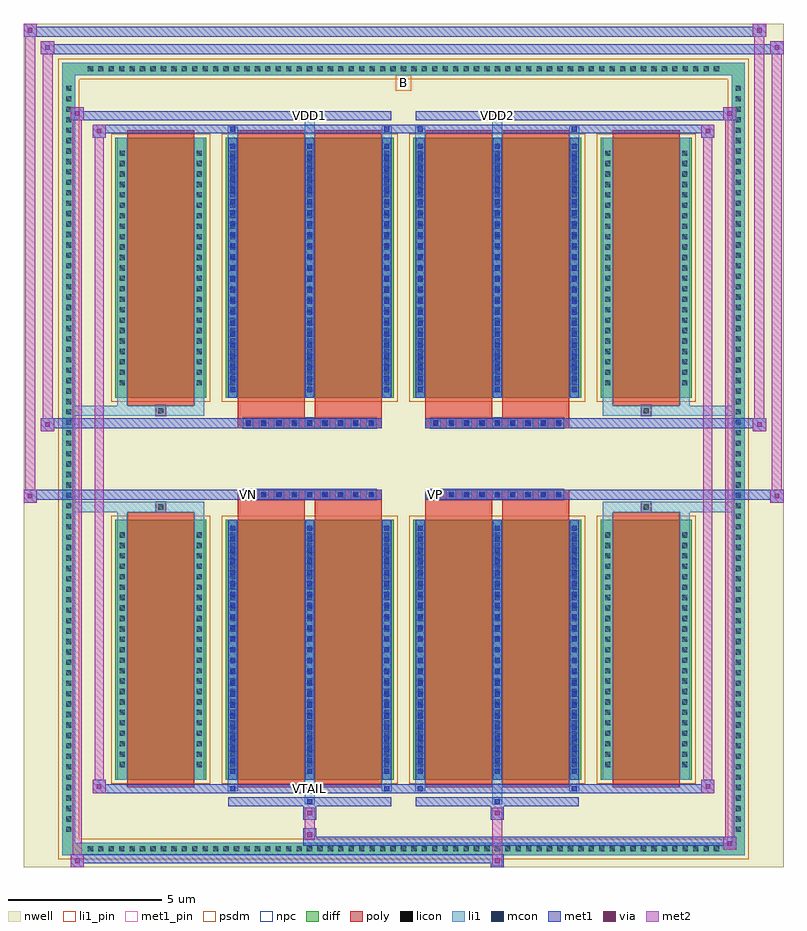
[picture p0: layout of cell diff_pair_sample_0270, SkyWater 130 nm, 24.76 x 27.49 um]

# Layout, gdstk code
import gdstk
lib = gdstk.Library(unit=1e-6, precision=5e-09)
def R(c, l, rs):  # rectangles x0, y0, x1, y1
    for r in rs: c.add(gdstk.rectangle(r[:2], r[2:], *l))
def A(c, l, x, y, w, h, nx, ny, dx, dy):  # array of equal rectangles
    R(c, l, [(x+i*dx, y+j*dy, x+i*dx+w, y+j*dy+h) for i in range(nx) for j in range(ny)])
def P(c, l, *ps):  # polygons
    for p in ps: c.add(gdstk.Polygon(p, *l))
nwell = (64, 20)
diff = (65, 20)
poly = (66, 20)
licon = (66, 44)
li1_pin = (67, 16)
li1 = (67, 20)
mcon = (67, 44)
met1_pin = (68, 16)
met1 = (68, 20)
via = (68, 44)
met2 = (69, 20)
psdm = (94, 20)
npc = (95, 20)

diff_pair_sample_0270 = lib.new_cell('diff_pair_sample_0270')
R(diff_pair_sample_0270, nwell, [(-12.38,-13.31,12.38,14.18), (-9.7,-11.5,-0.01,-0.8), (0.01,-11.5,9.7,-0.8), (-9.7,0.8,-0.01,11.5), (0.01,0.8,9.7,11.5)])
A(diff_pair_sample_0270, diff, -10.405, -12.91, 0.41, 0.41, 61, 2, 0.34, 25.41)
A(diff_pair_sample_0270, diff, -11.11, -12.275, 0.41, 0.41, 1, 72, 0, 0.34)
A(diff_pair_sample_0270, diff, 10.7, -12.275, 0.41, 0.41, 1, 72, 0, 0.34)
R(diff_pair_sample_0270, diff, [(-10.405,-12.91,10.405,-12.5), (-11.11,-12.275,-10.7,12.275), (10.7,-12.275,11.11,12.275), (-9.39,-10.455,-6.43,-1.985), (-5.79,-10.455,-0.32,-1.985), (0.32,-10.455,5.79,-1.985), (6.43,-10.455,9.39,-1.985), (-9.39,1.985,-6.43,10.455), (-5.79,1.985,-0.32,10.455), (0.32,1.985,5.79,10.455), (6.43,1.985,9.39,10.455), (-10.405,12.5,10.405,12.91)])
P(diff_pair_sample_0270, diff, [(11.11,12.91),(-11.11,12.91),(-11.11,-12.5),(-10.7,-12.5),(-10.7,12.5),(10.7,12.5),(10.7,-12.5),(-10.7,-12.5),(-11.11,-12.5),(-11.11,-12.91),(11.11,-12.91)])
A(diff_pair_sample_0270, poly, -5.22, -1.33, 0.33, 0.33, 9, 2, 0.5, 2.33)
A(diff_pair_sample_0270, poly, 0.89, -1.33, 0.33, 0.33, 9, 2, 0.5, 2.33)
R(diff_pair_sample_0270, poly, [(-9,-10.705,-6.82,-1.735), (-5.4,-10.705,-3.22,-1.735), (-2.89,-10.705,-0.71,-1.735), (0.71,-10.705,2.89,-1.735), (3.22,-10.705,5.4,-1.735), (6.82,-10.705,9,-1.735), (-8.075,-1.735,-7.745,-1.405), (-8.075,-1.735,-7.745,-1.405), (-5.4,-1.735,-3.22,-1.33), (-2.89,-1.735,-0.71,-1.33), (0.71,-1.735,2.89,-1.33), (3.22,-1.735,5.4,-1.33), (7.745,-1.735,8.075,-1.405), (7.745,-1.735,8.075,-1.405), (-5.4,-1.33,-0.71,-1), (0.71,-1.33,5.4,-1), (-5.4,1,-0.71,1.33), (0.71,1,5.4,1.33), (-5.4,1.33,-3.22,1.735), (-2.89,1.33,-0.71,1.735), (0.71,1.33,2.89,1.735), (3.22,1.33,5.4,1.735), (-8.075,1.405,-7.745,1.735), (-8.075,1.405,-7.745,1.735), (7.745,1.405,8.075,1.735), (7.745,1.405,8.075,1.735), (-9,1.735,-6.82,10.705), (-5.4,1.735,-3.22,10.705), (-2.89,1.735,-0.71,10.705), (0.71,1.735,2.89,10.705), (3.22,1.735,5.4,10.705), (6.82,1.735,9,10.705)])
A(diff_pair_sample_0270, licon, -10.285, -12.79, 0.17, 0.17, 61, 2, 0.34, 25.41)
A(diff_pair_sample_0270, licon, -10.99, -12.155, 0.17, 0.17, 1, 72, 0, 0.34)
A(diff_pair_sample_0270, licon, 10.82, -12.155, 0.17, 0.17, 1, 72, 0, 0.34)
A(diff_pair_sample_0270, licon, -9.25, -10.045, 0.17, 0.17, 1, 23, 0, 0.34)
A(diff_pair_sample_0270, licon, -6.74, -10.045, 0.17, 0.17, 1, 23, 0, 0.34)
A(diff_pair_sample_0270, licon, -5.65, -10.045, 0.17, 0.17, 3, 23, 2.51, 0.34)
A(diff_pair_sample_0270, licon, 0.46, -10.045, 0.17, 0.17, 3, 23, 2.51, 0.34)
A(diff_pair_sample_0270, licon, 6.57, -10.045, 0.17, 0.17, 1, 23, 0, 0.34)
A(diff_pair_sample_0270, licon, 9.08, -10.045, 0.17, 0.17, 1, 23, 0, 0.34)
A(diff_pair_sample_0270, licon, -5.14, -1.25, 0.17, 0.17, 9, 2, 0.5, 2.33)
A(diff_pair_sample_0270, licon, 0.97, -1.25, 0.17, 0.17, 9, 2, 0.5, 2.33)
A(diff_pair_sample_0270, licon, -9.25, 2.395, 0.17, 0.17, 1, 23, 0, 0.34)
A(diff_pair_sample_0270, licon, -6.74, 2.395, 0.17, 0.17, 1, 23, 0, 0.34)
A(diff_pair_sample_0270, licon, -5.65, 2.395, 0.17, 0.17, 3, 23, 2.51, 0.34)
A(diff_pair_sample_0270, licon, 0.46, 2.395, 0.17, 0.17, 3, 23, 2.51, 0.34)
A(diff_pair_sample_0270, licon, 6.57, 2.395, 0.17, 0.17, 1, 23, 0, 0.34)
A(diff_pair_sample_0270, licon, 9.08, 2.395, 0.17, 0.17, 1, 23, 0, 0.34)
R(diff_pair_sample_0270, licon, [(-7.995,-1.655,-7.825,-1.485), (7.825,-1.655,7.995,-1.485), (-7.995,1.485,-7.825,1.655), (7.825,1.485,7.995,1.655)])
R(diff_pair_sample_0270, li1_pin, [(-0.25,12,0.25,12.5)])
A(diff_pair_sample_0270, li1, -10.365, -12.87, 0.33, 0.33, 61, 2, 0.34, 25.41)
A(diff_pair_sample_0270, li1, -11.07, -12.235, 0.33, 0.33, 1, 72, 0, 0.34)
A(diff_pair_sample_0270, li1, 10.74, -12.235, 0.33, 0.33, 1, 72, 0, 0.34)
A(diff_pair_sample_0270, li1, -5.73, -10.455, 0.33, 8.47, 3, 2, 2.51, 12.44)
A(diff_pair_sample_0270, li1, 0.38, -10.455, 0.33, 8.47, 3, 2, 2.51, 12.44)
A(diff_pair_sample_0270, li1, -5.65, -10.265, 0.17, 0.17, 3, 23, 2.51, 0.36)
A(diff_pair_sample_0270, li1, -5.65, -10.265, 0.17, 8.09, 3, 2, 2.51, 12.44)
A(diff_pair_sample_0270, li1, 0.46, -10.265, 0.17, 0.17, 3, 23, 2.51, 0.36)
A(diff_pair_sample_0270, li1, 0.46, -10.265, 0.17, 8.09, 3, 2, 2.51, 12.44)
A(diff_pair_sample_0270, li1, -9.33, -10.125, 0.33, 0.33, 1, 23, 0, 0.34)
A(diff_pair_sample_0270, li1, -6.82, -10.125, 0.33, 0.33, 1, 23, 0, 0.34)
A(diff_pair_sample_0270, li1, -5.73, -10.125, 0.33, 0.33, 3, 23, 2.51, 0.34)
A(diff_pair_sample_0270, li1, 0.38, -10.125, 0.33, 0.33, 3, 23, 2.51, 0.34)
A(diff_pair_sample_0270, li1, 6.49, -10.125, 0.33, 0.33, 1, 23, 0, 0.34)
A(diff_pair_sample_0270, li1, 9, -10.125, 0.33, 0.33, 1, 23, 0, 0.34)
A(diff_pair_sample_0270, li1, -5.22, -1.33, 0.33, 0.33, 9, 2, 0.5, 2.33)
A(diff_pair_sample_0270, li1, 0.89, -1.33, 0.33, 0.33, 9, 2, 0.5, 2.33)
A(diff_pair_sample_0270, li1, -5.65, 2.175, 0.17, 0.17, 3, 23, 2.51, 0.36)
A(diff_pair_sample_0270, li1, 0.46, 2.175, 0.17, 0.17, 3, 23, 2.51, 0.36)
A(diff_pair_sample_0270, li1, -9.33, 2.315, 0.33, 0.33, 1, 23, 0, 0.34)
A(diff_pair_sample_0270, li1, -6.82, 2.315, 0.33, 0.33, 1, 23, 0, 0.34)
A(diff_pair_sample_0270, li1, -5.73, 2.315, 0.33, 0.33, 3, 23, 2.51, 0.34)
A(diff_pair_sample_0270, li1, 0.38, 2.315, 0.33, 0.33, 3, 23, 2.51, 0.34)
A(diff_pair_sample_0270, li1, 6.49, 2.315, 0.33, 0.33, 1, 23, 0, 0.34)
A(diff_pair_sample_0270, li1, 9, 2.315, 0.33, 0.33, 1, 23, 0, 0.34)
R(diff_pair_sample_0270, li1, [(-11.11,-12.91,-10.7,-12.5), (-11.11,-12.91,-10.7,-12.5), (-10.7,-12.91,10.7,-12.5), (10.7,-12.91,11.11,-12.5), (10.7,-12.91,11.11,-12.5), (-11.11,-12.5,-10.7,12.5), (10.7,-12.5,11.11,12.5), (-3.22,-11.26,-2.89,-10.455), (-3.14,-11.26,-2.97,-11.09), (2.89,-11.26,3.22,-10.455), (2.97,-11.26,3.14,-11.09), (-5.73,-10.83,-5.4,-10.455), (-5.65,-10.83,-5.48,-10.66), (-0.71,-10.83,-0.38,-10.455), (-0.63,-10.83,-0.46,-10.66), (0.38,-10.83,0.71,-10.455), (0.46,-10.83,0.63,-10.66), (5.4,-10.83,5.73,-10.455), (5.48,-10.83,5.65,-10.66), (-9.33,-10.455,-9,-1.985), (-6.82,-10.455,-6.49,-1.985), (6.49,-10.455,6.82,-1.985), (9,-10.455,9.33,-1.985), (-9.33,-1.985,-9,-1.405), (-6.82,-1.985,-6.49,-1.405), (6.49,-1.985,6.82,-1.405), (9,-1.985,9.33,-1.405), (-11.11,-1.735,-8.075,-1.405), (-9.33,-1.735,-8.075,-1.405), (-8.075,-1.735,-7.745,-1.405), (-7.745,-1.735,-6.49,-1.405), (6.49,-1.735,7.745,-1.405), (7.745,-1.735,8.075,-1.405), (7.745,-1.735,11.11,-1.405), (8.075,-1.735,9.33,-1.405), (-11.11,1.405,-8.075,1.735), (-9.33,1.405,-8.075,1.735), (-9.33,1.405,-9,1.985), (-8.075,1.405,-7.745,1.735), (-7.745,1.405,-6.49,1.735), (-6.82,1.405,-6.49,1.985), (6.49,1.405,7.745,1.735), (6.49,1.405,6.82,1.985), (7.745,1.405,8.075,1.735), (7.745,1.405,11.11,1.735), (8.075,1.405,9.33,1.735), (9,1.405,9.33,1.985), (-9.33,1.985,-9,10.455), (-6.82,1.985,-6.49,10.455), (6.49,1.985,6.82,10.455), (9,1.985,9.33,10.455), (-5.73,10.455,-5.4,10.83), (-3.22,10.455,-2.89,11.26), (-0.71,10.455,-0.38,10.83), (0.38,10.455,0.71,10.83), (2.89,10.455,3.22,11.26), (5.4,10.455,5.73,10.83), (-5.65,10.66,-5.48,10.83), (-0.63,10.66,-0.46,10.83), (0.46,10.66,0.63,10.83), (5.48,10.66,5.65,10.83), (-3.14,11.09,-2.97,11.26), (2.97,11.09,3.14,11.26), (-11.11,12.5,-10.7,12.91), (-11.11,12.5,-10.7,12.91), (-10.7,12.5,10.7,12.91), (10.7,12.5,11.11,12.91), (10.7,12.5,11.11,12.91)])
A(diff_pair_sample_0270, mcon, -5.65, -10.265, 0.17, 0.17, 3, 23, 2.51, 0.36)
A(diff_pair_sample_0270, mcon, 0.46, -10.265, 0.17, 0.17, 3, 23, 2.51, 0.36)
A(diff_pair_sample_0270, mcon, -5.14, -1.25, 0.17, 0.17, 9, 2, 0.5, 2.33)
A(diff_pair_sample_0270, mcon, 0.97, -1.25, 0.17, 0.17, 9, 2, 0.5, 2.33)
A(diff_pair_sample_0270, mcon, -5.65, 2.175, 0.17, 0.17, 3, 23, 2.51, 0.36)
A(diff_pair_sample_0270, mcon, 0.46, 2.175, 0.17, 0.17, 3, 23, 2.51, 0.36)
R(diff_pair_sample_0270, mcon, [(-3.14,-11.26,-2.97,-11.09), (2.97,-11.26,3.14,-11.09), (-5.65,-10.83,-5.48,-10.66), (-0.63,-10.83,-0.46,-10.66), (0.46,-10.83,0.63,-10.66), (5.48,-10.83,5.65,-10.66), (-5.65,10.66,-5.48,10.83), (-0.63,10.66,-0.46,10.83), (0.46,10.66,0.63,10.83), (5.48,10.66,5.65,10.83), (-3.14,11.09,-2.97,11.26), (2.97,11.09,3.14,11.26)])
R(diff_pair_sample_0270, met1_pin, [(-3.19,-10.87,-2.92,-10.6), (-5.19,-1.29,-4.92,-1.02), (0.92,-1.29,1.19,-1.02), (-3.19,11.05,-2.92,11.32), (2.92,11.05,3.19,11.32)])
A(diff_pair_sample_0270, met1, -5.71, -10.455, 0.29, 8.47, 3, 2, 2.51, 12.44)
A(diff_pair_sample_0270, met1, 0.4, -10.455, 0.29, 8.47, 3, 2, 2.51, 12.44)
A(diff_pair_sample_0270, met1, -5.71, -10.325, 0.29, 0.29, 3, 23, 2.51, 0.36)
A(diff_pair_sample_0270, met1, 0.4, -10.325, 0.29, 0.29, 3, 23, 2.51, 0.36)
A(diff_pair_sample_0270, met1, -5.2, -1.31, 0.29, 0.29, 9, 2, 0.5, 2.33)
A(diff_pair_sample_0270, met1, 0.91, -1.31, 0.29, 0.29, 9, 2, 0.5, 2.33)
A(diff_pair_sample_0270, met1, -5.71, 2.115, 0.29, 0.29, 3, 23, 2.51, 0.36)
A(diff_pair_sample_0270, met1, 0.4, 2.115, 0.29, 0.29, 3, 23, 2.51, 0.36)
R(diff_pair_sample_0270, met1, [(-10.84,-13.31,-10.41,-12.88), (2.84,-13.31,3.27,-12.88), (-10.84,-13.17,3.27,-12.88), (10.41,-12.74,10.84,-12.31), (-3.27,-12.6,10.84,-12.31), (-3.27,-12.46,-2.84,-12.03), (-3.27,-11.75,-2.84,-11.32), (2.84,-11.75,3.27,-11.32), (-5.71,-11.32,-0.4,-11.03), (-3.2,-11.32,-2.91,-11.03), (0.4,-11.32,5.71,-11.03), (2.91,-11.32,3.2,-11.03), (-10.13,-10.89,-9.7,-10.46), (-10.13,-10.89,-5.71,-10.6), (-5.71,-10.89,-5.42,-10.6), (-5.71,-10.89,-0.4,-10.6), (-0.69,-10.89,-0.4,-10.6), (-0.4,-10.89,0.4,-10.6), (0.4,-10.89,0.69,-10.6), (0.4,-10.89,5.71,-10.6), (5.42,-10.89,5.71,-10.6), (5.71,-10.89,10.13,-10.6), (9.7,-10.89,10.13,-10.46), (-12.38,-1.43,-11.95,-1), (11.95,-1.43,12.38,-1), (-12.38,-1.33,-0.71,-1), (-5.4,-1.33,-0.71,-1), (0.71,-1.33,5.4,-1), (0.71,-1.33,12.38,-1), (-11.81,0.9,-11.38,1.33), (11.38,0.9,11.81,1.33), (-11.81,1,-5.4,1.33), (-5.4,1,-0.71,1.33), (0.71,1,5.4,1.33), (5.4,1,11.81,1.33), (-10.13,10.46,-9.7,10.89), (9.7,10.46,10.13,10.89), (-10.13,10.6,-5.71,10.89), (-5.71,10.6,-5.42,10.89), (-5.71,10.6,-0.4,10.89), (-0.69,10.6,-0.4,10.89), (-0.4,10.6,0.4,10.89), (0.4,10.6,0.69,10.89), (0.4,10.6,5.71,10.89), (5.42,10.6,5.71,10.89), (5.71,10.6,10.13,10.89), (-10.84,11.03,-10.41,11.46), (-10.84,11.03,-5.71,11.32), (-5.71,11.03,-0.4,11.32), (-3.2,11.03,-2.91,11.32), (0.4,11.03,5.71,11.32), (2.91,11.03,3.2,11.32), (5.71,11.03,10.84,11.32), (10.41,11.03,10.84,11.46), (-11.81,13.18,-11.38,13.61), (-11.81,13.18,-9.7,13.51), (-9.7,13.18,9.7,13.51), (9.7,13.18,12.38,13.51), (11.95,13.18,12.38,13.61), (-12.38,13.75,-11.95,14.18), (-12.38,13.75,-9.7,14.08), (-9.7,13.75,9.7,14.08), (9.7,13.75,11.81,14.08), (11.38,13.75,11.81,14.18)])
R(diff_pair_sample_0270, via, [(-10.7,-13.17,-10.55,-13.02), (2.98,-13.17,3.13,-13.02), (10.55,-12.6,10.7,-12.45), (-3.13,-12.32,-2.98,-12.17), (-3.13,-11.61,-2.98,-11.46), (2.98,-11.61,3.13,-11.46), (-9.99,-10.75,-9.84,-10.6), (9.84,-10.75,9.99,-10.6), (-12.24,-1.29,-12.09,-1.14), (12.09,-1.29,12.24,-1.14), (-11.67,1.04,-11.52,1.19), (11.52,1.04,11.67,1.19), (-9.99,10.6,-9.84,10.75), (9.84,10.6,9.99,10.75), (-10.7,11.17,-10.55,11.32), (10.55,11.17,10.7,11.32), (-11.67,13.32,-11.52,13.47), (12.09,13.32,12.24,13.47), (-12.24,13.89,-12.09,14.04), (11.52,13.89,11.67,14.04)])
R(diff_pair_sample_0270, met2, [(-10.84,-13.31,-10.41,-12.88), (-10.77,-13.31,-10.48,11.46), (-10.48,-13.31,-10.41,-12.88), (-10.79,-13.26,-10.46,-12.93), (2.89,-13.26,3.22,-12.93), (2.89,-12.93,3.22,-11.7), (10.41,-12.74,10.84,-12.31), (10.48,-12.74,10.77,11.46), (10.77,-12.74,10.84,-12.31), (10.46,-12.69,10.79,-12.36), (-3.22,-12.41,-2.89,-12.08), (-3.22,-12.08,-2.89,-11.7), (-3.22,-11.7,-2.89,-11.37), (2.89,-11.7,3.22,-11.37), (-10.13,-10.89,-9.7,-10.46), (-10.06,-10.89,-9.77,10.89), (-9.77,-10.89,-9.7,-10.46), (9.7,-10.89,10.13,-10.46), (9.77,-10.89,10.06,10.89), (10.06,-10.89,10.13,-10.46), (-10.08,-10.84,-9.75,-10.51), (9.75,-10.84,10.08,-10.51), (-12.38,-1.43,-11.95,-1), (-12.33,-1.43,-12,14.18), (-12,-1.43,-11.95,-1), (11.95,-1.43,12.38,-1), (12,-1.43,12.33,13.61), (12.33,-1.43,12.38,-1), (-12.33,-1.38,-12,-1.05), (12,-1.38,12.33,-1.05), (-11.81,0.9,-11.38,1.33), (-11.76,0.9,-11.43,13.61), (-11.43,0.9,-11.38,1.33), (11.38,0.9,11.81,1.33), (11.43,0.9,11.76,14.18), (11.76,0.9,11.81,1.33), (-11.76,0.95,-11.43,1.28), (11.43,0.95,11.76,1.28), (-10.13,10.46,-9.7,10.89), (-9.77,10.46,-9.7,10.89), (9.7,10.46,10.13,10.89), (10.06,10.46,10.13,10.89), (-10.08,10.51,-9.75,10.84), (9.75,10.51,10.08,10.84), (-10.84,11.03,-10.41,11.46), (-10.48,11.03,-10.41,11.46), (10.41,11.03,10.84,11.46), (10.77,11.03,10.84,11.46), (-10.79,11.08,-10.46,11.41), (10.46,11.08,10.79,11.41), (-11.81,13.18,-11.38,13.61), (-11.43,13.18,-11.38,13.61), (11.95,13.18,12.38,13.61), (12.33,13.18,12.38,13.61), (-11.76,13.23,-11.43,13.56), (12,13.23,12.33,13.56), (-12.38,13.75,-11.95,14.18), (-12,13.75,-11.95,14.18), (11.38,13.75,11.81,14.18), (11.76,13.75,11.81,14.18), (-12.33,13.8,-12,14.13), (11.43,13.8,11.76,14.13)])
R(diff_pair_sample_0270, psdm, [(-9.52,-10.585,-6.3,-1.855), (-5.92,-10.585,-0.19,-1.855), (0.19,-10.585,5.92,-1.855), (6.3,-10.585,9.52,-1.855), (-9.52,1.855,-6.3,10.585), (-5.92,1.855,-0.19,10.585), (0.19,1.855,5.92,10.585), (6.3,1.855,9.52,10.585)])
P(diff_pair_sample_0270, psdm, [(11.24,13.04),(-11.24,13.04),(-11.24,-12.37),(-10.57,-12.37),(-10.57,12.37),(10.57,12.37),(10.57,-12.37),(-10.57,-12.37),(-11.24,-12.37),(-11.24,-13.04),(11.24,-13.04)])
A(diff_pair_sample_0270, npc, -5.24, -1.35, 0.37, 0.37, 9, 2, 0.5, 2.33)
A(diff_pair_sample_0270, npc, 0.87, -1.35, 0.37, 0.37, 9, 2, 0.5, 2.33)
R(diff_pair_sample_0270, npc, [(-8.095,-1.755,-7.725,-1.385), (7.725,-1.755,8.095,-1.385), (-5.24,-1.35,-4.37,-0.98), (-5.24,-1.35,-4.37,-0.98), (-4.74,-1.35,-3.87,-0.98), (-4.74,-1.35,-3.87,-0.98), (-4.24,-1.35,-3.37,-0.98), (-4.24,-1.35,-3.37,-0.98), (-3.74,-1.35,-2.87,-0.98), (-3.74,-1.35,-2.87,-0.98), (-3.24,-1.35,-2.37,-0.98), (-3.24,-1.35,-2.37,-0.98), (-2.74,-1.35,-1.87,-0.98), (-2.74,-1.35,-1.87,-0.98), (-2.24,-1.35,-1.37,-0.98), (-2.24,-1.35,-1.37,-0.98), (-1.74,-1.35,-0.87,-0.98), (-1.74,-1.35,-0.87,-0.98), (0.87,-1.35,1.74,-0.98), (0.87,-1.35,1.74,-0.98), (1.37,-1.35,2.24,-0.98), (1.37,-1.35,2.24,-0.98), (1.87,-1.35,2.74,-0.98), (1.87,-1.35,2.74,-0.98), (2.37,-1.35,3.24,-0.98), (2.37,-1.35,3.24,-0.98), (2.87,-1.35,3.74,-0.98), (2.87,-1.35,3.74,-0.98), (3.37,-1.35,4.24,-0.98), (3.37,-1.35,4.24,-0.98), (3.87,-1.35,4.74,-0.98), (3.87,-1.35,4.74,-0.98), (4.37,-1.35,5.24,-0.98), (4.37,-1.35,5.24,-0.98), (-5.24,0.98,-4.37,1.35), (-5.24,0.98,-4.37,1.35), (-4.74,0.98,-3.87,1.35), (-4.74,0.98,-3.87,1.35), (-4.24,0.98,-3.37,1.35), (-4.24,0.98,-3.37,1.35), (-3.74,0.98,-2.87,1.35), (-3.74,0.98,-2.87,1.35), (-3.24,0.98,-2.37,1.35), (-3.24,0.98,-2.37,1.35), (-2.74,0.98,-1.87,1.35), (-2.74,0.98,-1.87,1.35), (-2.24,0.98,-1.37,1.35), (-2.24,0.98,-1.37,1.35), (-1.74,0.98,-0.87,1.35), (-1.74,0.98,-0.87,1.35), (0.87,0.98,1.74,1.35), (0.87,0.98,1.74,1.35), (1.37,0.98,2.24,1.35), (1.37,0.98,2.24,1.35), (1.87,0.98,2.74,1.35), (1.87,0.98,2.74,1.35), (2.37,0.98,3.24,1.35), (2.37,0.98,3.24,1.35), (2.87,0.98,3.74,1.35), (2.87,0.98,3.74,1.35), (3.37,0.98,4.24,1.35), (3.37,0.98,4.24,1.35), (3.87,0.98,4.74,1.35), (3.87,0.98,4.74,1.35), (4.37,0.98,5.24,1.35), (4.37,0.98,5.24,1.35), (-8.095,1.385,-7.725,1.755), (7.725,1.385,8.095,1.755)])
diff_pair_sample_0270.add(gdstk.Label('VTAIL', (-3.055,-10.735), layer=68, texttype=5))
diff_pair_sample_0270.add(gdstk.Label('VN', (-5.055,-1.155), layer=68, texttype=5))
diff_pair_sample_0270.add(gdstk.Label('VP', (1.055,-1.155), layer=68, texttype=5))
diff_pair_sample_0270.add(gdstk.Label('B', (0,12.25), layer=67, texttype=5))
diff_pair_sample_0270.add(gdstk.Label('VDD2', (3.055,11.185), layer=68, texttype=5))
diff_pair_sample_0270.add(gdstk.Label('VDD1', (-3.055,11.185), layer=68, texttype=5))

lib.write_gds('diff_pair_sample_0270.gds')
